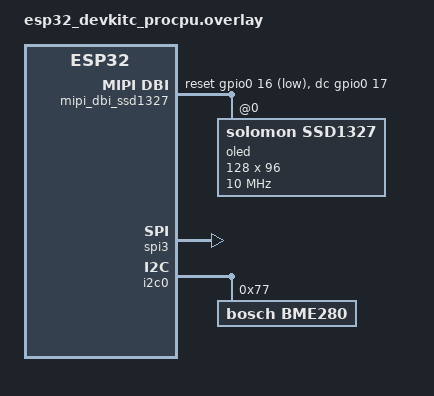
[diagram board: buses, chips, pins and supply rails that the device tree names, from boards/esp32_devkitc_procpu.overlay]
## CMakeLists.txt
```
#-------------------------------------------------------------------------------
# Zephyr Example Application
#
# Copyright (c) 2021 Nordic Semiconductor ASA
# SPDX-License-Identifier: Apache-2.0

cmake_minimum_required(VERSION 3.20.0)
find_package(Zephyr REQUIRED HINTS $ENV{ZEPHYR_BASE})

project(weather_station)

target_sources(app PRIVATE src/main.c)
```

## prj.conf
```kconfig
# Copyright (c) 2021 Nordic Semiconductor ASA
# SPDX-License-Identifier: Apache-2.0
#
# This file contains selected Kconfig options for the application.

CONFIG_I2C=y
CONFIG_SPI=y

CONFIG_SENSOR=y
CONFIG_BME280=y

CONFIG_MIPI_DBI=y
CONFIG_DISPLAY=y
CONFIG_SSD1327_5=y

CONFIG_SENSOR_ASYNC_API=y
CONFIG_CHARACTER_FRAMEBUFFER=y
```

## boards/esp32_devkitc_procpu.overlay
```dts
/*
 * Copyright (c) 2021 Nordic Semiconductor ASA
 * SPDX-License-Identifier: Apache-2.0
 */

#include <zephyr/dt-bindings/mipi_dbi/mipi_dbi.h>

/ {
	mipi_dbi_ssd1327 {
		compatible = "zephyr,mipi-dbi-spi";
		spi-dev = <&spi3>;

		#address-cells = <1>;
        #size-cells = <0>;

		dc-gpios = <&gpio0 17 GPIO_ACTIVE_HIGH>;
        reset-gpios = <&gpio0 16 GPIO_ACTIVE_LOW>;

		oled: ssd1327@0 {
            compatible = "solomon,ssd1327";
            reg = <0>;
            mipi-max-frequency = <10000000>;
            
            width = <128>;
            height = <96>;
            display-offset = <0>;
            multiplex-ratio = <95>;
			prechargep = <0x5>;
			oscillator-freq = <0x0>;
			start-line = <0>;
			remap-value = <0x53>;
			phase-length = <0x1f>;
			mipi-mode = "MIPI_DBI_MODE_SPI_4WIRE";
        };
	};
};

&spi3 {
	status = "okay";
	cs-gpios = <&gpio0 5 GPIO_ACTIVE_LOW>;
};

&i2c0 {
	status = "okay";

	bme280@77 {
		compatible = "bosch,bme280";
		reg = <0x77>;
	};
};
```

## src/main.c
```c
/*
 * Copyright (c) 2012-2014 Wind River Systems, Inc.
 * Copyright (c) 2021 Nordic Semiconductor ASA
 *
 * SPDX-License-Identifier: Apache-2.0
 */

#include <zephyr/kernel.h>
#include <zephyr/device.h>
#include <zephyr/devicetree.h>
#include <zephyr/display/cfb.h>
#include <zephyr/drivers/sensor.h>
#include <zephyr/drivers/sensor_data_types.h>
#include <zephyr/rtio/rtio.h>
#include <zephyr/dsp/print_format.h>

const struct device *const sensor = DEVICE_DT_GET_ANY(bosch_bme280);

SENSOR_DT_READ_IODEV(iodev, DT_COMPAT_GET_ANY_STATUS_OKAY(bosch_bme280),
		{SENSOR_CHAN_AMBIENT_TEMP, 0},
		{SENSOR_CHAN_HUMIDITY, 0},
		{SENSOR_CHAN_PRESS, 0});

RTIO_DEFINE(ctx, 1, 1);

static const struct device *check_bme280_device(void)
{
	if (sensor == NULL) {
		/* No such node, or the node does not have status "okay". */
		printk("\nError: no device found.\n");
		return NULL;
	}

	if (!device_is_ready(sensor)) {
		printk("\nError: Device \"%s\" is not ready; "
		       "check the driver initialization logs for errors.\n",
		       sensor->name);
		return NULL;
	}

	printk("Found device \"%s\", getting sensor data\n", sensor->name);
	return sensor;
}

const struct device *const display = DEVICE_DT_GET(DT_NODELABEL(oled));

static const struct device *check_oled_device(void)
{
	if (!device_is_ready(display)) {
		printk("\nError: Device \"%s\" is not ready; "
		       "check the driver initialization logs for errors.\n",
		       display->name);
		return NULL;
	}

	printk("Found device \"%s\", getting display\n", display->name);
	return display;
}

int main(void)
{
	const struct device *sensor = check_bme280_device();
	const struct device *display = check_oled_device();

	if (sensor == NULL) {
		return 0;
	}

	if (display == NULL) {
		return 0;
	}

	if (cfb_framebuffer_init(display)) {
		printk("Framebuffer initialization failed!\n");
		return 0;
	}

	while (1) {
		uint8_t buf[128];

		int rc = sensor_read(&iodev, &ctx, buf, 128);

		if (rc != 0) {
			printk("%s: sensor_read() failed: %d\n", sensor->name, rc);
			return rc;
		}

		const struct sensor_decoder_api *decoder;

		rc = sensor_get_decoder(sensor, &decoder);

		if (rc != 0) {
			printk("%s: sensor_get_decode() failed: %d\n", sensor->name, rc);
			return rc;
		}

		uint32_t temp_fit = 0;
		struct sensor_q31_data temp_data = {0};

		decoder->decode(buf,
			(struct sensor_chan_spec) {SENSOR_CHAN_AMBIENT_TEMP, 0},
			&temp_fit, 1, &temp_data);

		uint32_t press_fit = 0;
		struct sensor_q31_data press_data = {0};

		decoder->decode(buf,
				(struct sensor_chan_spec) {SENSOR_CHAN_PRESS, 0},
				&press_fit, 1, &press_data);

		uint32_t hum_fit = 0;
		struct sensor_q31_data hum_data = {0};

		decoder->decode(buf,
				(struct sensor_chan_spec) {SENSOR_CHAN_HUMIDITY, 0},
				&hum_fit, 1, &hum_data);

		printk("temp: %s%d.%d; press: %s%d.%d; humidity: %s%d.%d\n",
			PRIq_arg(temp_data.readings[0].temperature, 6, temp_data.shift),
			PRIq_arg(press_data.readings[0].pressure, 6, press_data.shift),
			PRIq_arg(hum_data.readings[0].humidity, 6, hum_data.shift));

		cfb_framebuffer_clear(display, false);
		cfb_print(display, "temp: " + temp_data.readings[0].temperature, 0, 0);
		cfb_framebuffer_finalize(display);

		k_sleep(K_MSEC(1000));
	}
	return 0;
}
```
